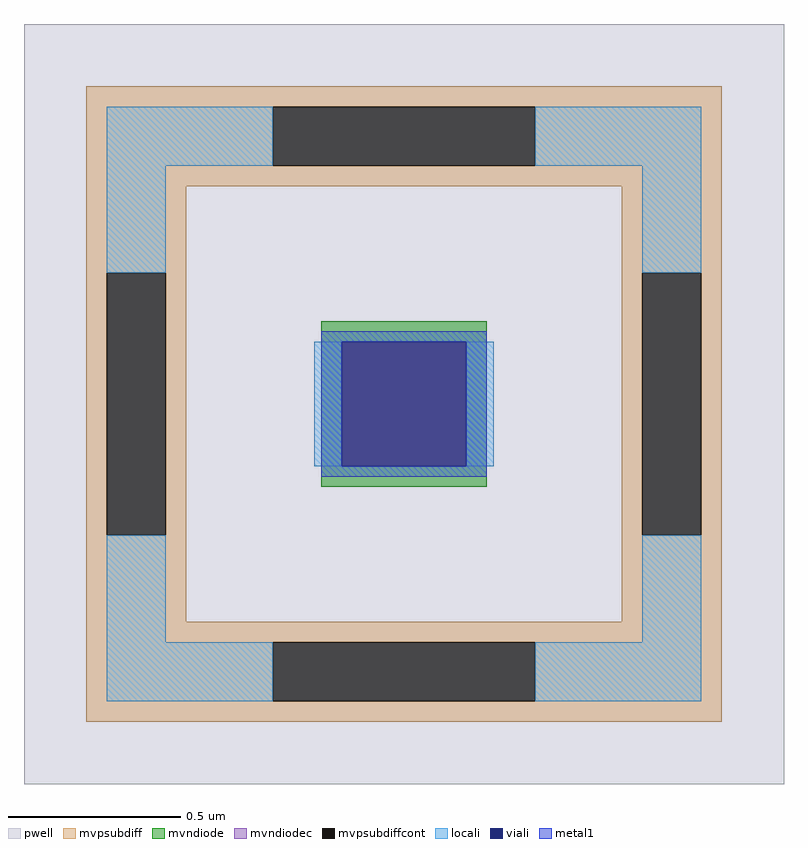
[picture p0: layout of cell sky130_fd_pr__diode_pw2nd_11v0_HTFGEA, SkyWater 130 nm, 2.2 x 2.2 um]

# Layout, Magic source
magic
tech sky130A
<< pwell >>
rect -110 -110 110 110
<< mvpsubdiff >>
rect -92 86 92 92
rect -92 69 -38 86
rect 38 69 92 86
rect -92 63 92 69
rect -92 38 -63 63
rect -92 -38 -86 38
rect -69 -38 -63 38
rect 63 38 92 63
rect -92 -63 -63 -38
rect 63 -38 69 38
rect 86 -38 92 38
rect 63 -63 92 -38
rect -92 -69 92 -63
rect -92 -86 -38 -69
rect 38 -86 92 -69
rect -92 -92 92 -86
<< mvpsubdiffcont >>
rect -38 69 38 86
rect -86 -38 -69 38
rect 69 -38 86 38
rect -38 -86 38 -69
<< mvndiode >>
rect -24 18 24 24
rect -24 -18 -18 18
rect 18 -18 24 18
rect -24 -24 24 -18
<< mvndiodec >>
rect -18 -18 18 18
<< locali >>
rect -86 69 -38 86
rect 38 69 86 86
rect -86 38 -69 69
rect 69 38 86 69
rect -26 -18 -18 18
rect 18 -18 26 18
rect -86 -69 -69 -38
rect 69 -69 86 -38
rect -86 -86 -38 -69
rect 38 -86 86 -69
<< viali >>
rect -18 -18 18 18
<< metal1 >>
rect -24 18 24 21
rect -24 -18 -18 18
rect 18 -18 24 18
rect -24 -21 24 -18
<< properties >>
string FIXED_BBOX -77 -77 77 77
string gencell sky130_fd_pr__diode_pw2nd_11v0
string library sky130
string parameters w 0.48 l 0.48 area 230.399m peri 1.92 nx 1 ny 1 dummy 0 lmin 0.45 wmin 0.45 elc 1 erc 1 etc 1 ebc 1 doverlap 0 compatible {sky130_fd_pr__diode_pw2nd_05v5 sky130_fd_pr__diode_pw2nd_05v5_lvt  sky130_fd_pr__diode_pw2nd_05v5_nvt sky130_fd_pr__diode_pw2nd_11v0} full_metal 1 vias 1 viagb 0 viagt 0 viagl 0 viagr 0
<< end >>
